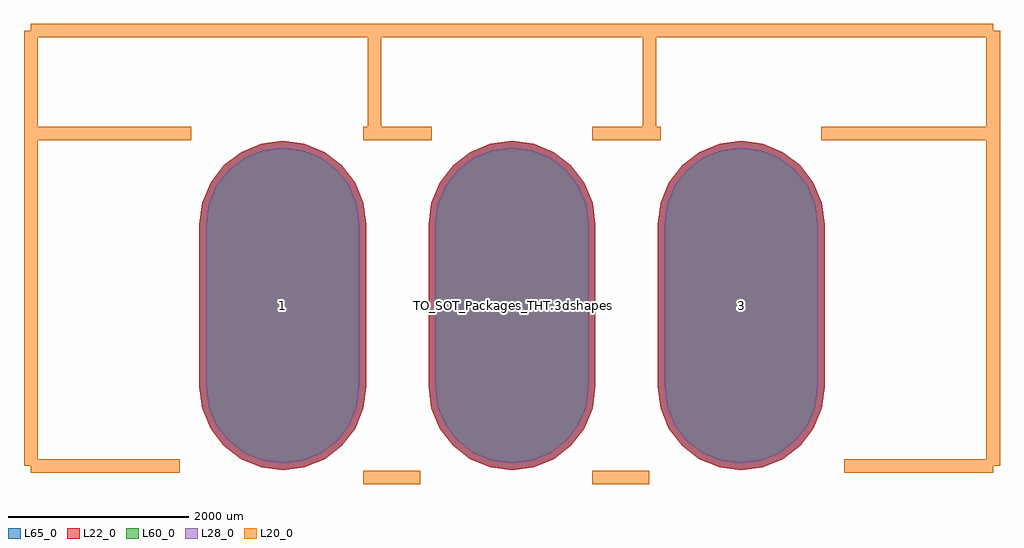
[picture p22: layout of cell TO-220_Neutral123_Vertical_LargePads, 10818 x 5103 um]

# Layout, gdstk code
import gdstk
lib = gdstk.Library(unit=1e-6, precision=1e-09)
def P(c, l, *ps):  # polygons
    for p in ps: c.add(gdstk.Polygon(p, *l))
L20_0 = (20, 0)
L22_0 = (22, 0)
L28_0 = (28, 0)
L60_0 = (60, 0)
L65_0 = (65, 0)

to_220_neutral123_vertic = lib.new_cell('TO-220_Neutral123_Vertical_LargePads')
P(to_220_neutral123_vertic, L22_0, [(2540,-1825.06),(2779.312,-1793.554),(3002.315,-1701.183),(3193.812,-1554.242),(3340.753,-1362.745),(3433.124,-1139.742),(3464.63,-900.43),(3464.63,900.43),(3433.124,1139.742),(3340.753,1362.745),(3193.812,1554.242),(3002.315,1701.183),(2779.312,1793.554),(2540,1825.06),(2300.688,1793.554),(2077.685,1701.183),(1886.188,1554.242),(1739.247,1362.745),(1646.876,1139.742),(1615.37,900.43),(1615.37,-900.43),(1646.876,-1139.742),(1739.247,-1362.745),(1886.188,-1554.242),(2077.685,-1701.183),(2300.688,-1793.554)],
  [(-2540,-1825.06),(-2300.688,-1793.554),(-2077.685,-1701.183),(-1886.188,-1554.242),(-1739.247,-1362.745),(-1646.876,-1139.742),(-1615.37,-900.43),(-1615.37,900.43),(-1646.876,1139.742),(-1739.247,1362.745),(-1886.188,1554.242),(-2077.685,1701.183),(-2300.688,1793.554),(-2540,1825.06),(-2779.312,1793.554),(-3002.315,1701.183),(-3193.812,1554.242),(-3340.753,1362.745),(-3433.124,1139.742),(-3464.63,900.43),(-3464.63,-900.43),(-3433.124,-1139.742),(-3340.753,-1362.745),(-3193.812,-1554.242),(-3002.315,-1701.183),(-2779.312,-1793.554)],
  [(0,-1825.06),(239.312,-1793.554),(462.315,-1701.183),(653.812,-1554.242),(800.753,-1362.745),(893.124,-1139.742),(924.63,-900.43),(924.63,900.43),(893.124,1139.742),(800.753,1362.745),(653.812,1554.242),(462.315,1701.183),(239.312,1793.554),(0,1825.06),(-239.312,1793.554),(-462.315,1701.183),(-653.812,1554.242),(-800.753,1362.745),(-893.124,1139.742),(-924.63,900.43),(-924.63,-900.43),(-893.124,-1139.742),(-800.753,-1362.745),(-653.812,-1554.242),(-462.315,-1701.183),(-239.312,-1793.554)])
P(to_220_neutral123_vertic, L28_0, [(2540,-1750.06),(2759.9,-1721.11),(2964.815,-1636.231),(3140.779,-1501.209),(3275.801,-1325.245),(3360.68,-1120.33),(3389.63,-900.43),(3389.63,900.43),(3360.68,1120.33),(3275.801,1325.245),(3140.779,1501.209),(2964.815,1636.231),(2759.9,1721.11),(2540,1750.06),(2320.1,1721.11),(2115.185,1636.231),(1939.221,1501.209),(1804.199,1325.245),(1719.32,1120.33),(1690.37,900.43),(1690.37,-900.43),(1719.32,-1120.33),(1804.199,-1325.245),(1939.221,-1501.209),(2115.185,-1636.231),(2320.1,-1721.11)],
  [(-2540,-1750.06),(-2320.1,-1721.11),(-2115.185,-1636.231),(-1939.221,-1501.209),(-1804.199,-1325.245),(-1719.32,-1120.33),(-1690.37,-900.43),(-1690.37,900.43),(-1719.32,1120.33),(-1804.199,1325.245),(-1939.221,1501.209),(-2115.185,1636.231),(-2320.1,1721.11),(-2540,1750.06),(-2759.9,1721.11),(-2964.815,1636.231),(-3140.779,1501.209),(-3275.801,1325.245),(-3360.68,1120.33),(-3389.63,900.43),(-3389.63,-900.43),(-3360.68,-1120.33),(-3275.801,-1325.245),(-3140.779,-1501.209),(-2964.815,-1636.231),(-2759.9,-1721.11)],
  [(0,-1750.06),(219.9,-1721.11),(424.815,-1636.231),(600.779,-1501.209),(735.801,-1325.245),(820.68,-1120.33),(849.63,-900.43),(849.63,900.43),(820.68,1120.33),(735.801,1325.245),(600.779,1501.209),(424.815,1636.231),(219.9,1721.11),(0,1750.06),(-219.9,1721.11),(-424.815,1636.231),(-600.779,1501.209),(-735.801,1325.245),(-820.68,1120.33),(-849.63,900.43),(-849.63,-900.43),(-820.68,-1120.33),(-735.801,-1325.245),(-600.779,-1501.209),(-424.815,-1636.231),(-219.9,-1721.11)])
P(to_220_neutral123_vertic, L60_0, [(2540,-1750.06),(2759.9,-1721.11),(2964.815,-1636.231),(3140.779,-1501.209),(3275.801,-1325.245),(3360.68,-1120.33),(3389.63,-900.43),(3389.63,900.43),(3360.68,1120.33),(3275.801,1325.245),(3140.779,1501.209),(2964.815,1636.231),(2759.9,1721.11),(2540,1750.06),(2320.1,1721.11),(2115.185,1636.231),(1939.221,1501.209),(1804.199,1325.245),(1719.32,1120.33),(1690.37,900.43),(1690.37,-900.43),(1719.32,-1120.33),(1804.199,-1325.245),(1939.221,-1501.209),(2115.185,-1636.231),(2320.1,-1721.11)],
  [(-2540,-1750.06),(-2320.1,-1721.11),(-2115.185,-1636.231),(-1939.221,-1501.209),(-1804.199,-1325.245),(-1719.32,-1120.33),(-1690.37,-900.43),(-1690.37,900.43),(-1719.32,1120.33),(-1804.199,1325.245),(-1939.221,1501.209),(-2115.185,1636.231),(-2320.1,1721.11),(-2540,1750.06),(-2759.9,1721.11),(-2964.815,1636.231),(-3140.779,1501.209),(-3275.801,1325.245),(-3360.68,1120.33),(-3389.63,900.43),(-3389.63,-900.43),(-3360.68,-1120.33),(-3275.801,-1325.245),(-3140.779,-1501.209),(-2964.815,-1636.231),(-2759.9,-1721.11)],
  [(0,-1750.06),(219.9,-1721.11),(424.815,-1636.231),(600.779,-1501.209),(735.801,-1325.245),(820.68,-1120.33),(849.63,-900.43),(849.63,900.43),(820.68,1120.33),(735.801,1325.245),(600.779,1501.209),(424.815,1636.231),(219.9,1721.11),(0,1750.06),(-219.9,1721.11),(-424.815,1636.231),(-600.779,1501.209),(-735.801,1325.245),(-820.68,1120.33),(-849.63,900.43),(-849.63,-900.43),(-820.68,-1120.33),(-735.801,-1325.245),(-600.779,-1501.209),(-424.815,-1636.231),(-219.9,-1721.11)])
P(to_220_neutral123_vertic, L65_0, [(2540,-1825.06),(2779.312,-1793.554),(3002.315,-1701.183),(3193.812,-1554.242),(3340.753,-1362.745),(3433.124,-1139.742),(3464.63,-900.43),(3464.63,900.43),(3433.124,1139.742),(3340.753,1362.745),(3193.812,1554.242),(3002.315,1701.183),(2779.312,1793.554),(2540,1825.06),(2300.688,1793.554),(2077.685,1701.183),(1886.188,1554.242),(1739.247,1362.745),(1646.876,1139.742),(1615.37,900.43),(1615.37,-900.43),(1646.876,-1139.742),(1739.247,-1362.745),(1886.188,-1554.242),(2077.685,-1701.183),(2300.688,-1793.554)],
  [(-2540,-1825.06),(-2300.688,-1793.554),(-2077.685,-1701.183),(-1886.188,-1554.242),(-1739.247,-1362.745),(-1646.876,-1139.742),(-1615.37,-900.43),(-1615.37,900.43),(-1646.876,1139.742),(-1739.247,1362.745),(-1886.188,1554.242),(-2077.685,1701.183),(-2300.688,1793.554),(-2540,1825.06),(-2779.312,1793.554),(-3002.315,1701.183),(-3193.812,1554.242),(-3340.753,1362.745),(-3433.124,1139.742),(-3464.63,900.43),(-3464.63,-900.43),(-3433.124,-1139.742),(-3340.753,-1362.745),(-3193.812,-1554.242),(-3002.315,-1701.183),(-2779.312,-1793.554)],
  [(0,-1825.06),(239.312,-1793.554),(462.315,-1701.183),(653.812,-1554.242),(800.753,-1362.745),(893.124,-1139.742),(924.63,-900.43),(924.63,900.43),(893.124,1139.742),(800.753,1362.745),(653.812,1554.242),(462.315,1701.183),(239.312,1793.554),(0,1825.06),(-239.312,1793.554),(-462.315,1701.183),(-653.812,1554.242),(-800.753,1362.745),(-893.124,1139.742),(-924.63,900.43),(-924.63,-900.43),(-893.124,-1139.742),(-800.753,-1362.745),(-653.812,-1554.242),(-462.315,-1701.183),(-239.312,-1793.554)])
to_220_neutral123_vertic.add(gdstk.FlexPath([(0,3048),(5334,3048)], 149.998, ends="flush", simple_path=True, layer=20, datatype=0))  # L20_0
to_220_neutral123_vertic.add(gdstk.FlexPath([(0,3048),(-5334,3048)], 149.998, ends="flush", simple_path=True, layer=20, datatype=0))  # L20_0
to_220_neutral123_vertic.add(gdstk.FlexPath([(-5334,1905),(-5334,3048)], 149.998, ends="flush", simple_path=True, layer=20, datatype=0))  # L20_0
to_220_neutral123_vertic.add(gdstk.FlexPath([(5334,3048),(5334,1905)], 149.998, ends="flush", simple_path=True, layer=20, datatype=0))  # L20_0
to_220_neutral123_vertic.add(gdstk.FlexPath([(-5334,-1778),(-5334,1905)], 149.998, ends="flush", simple_path=True, layer=20, datatype=0))  # L20_0
to_220_neutral123_vertic.add(gdstk.FlexPath([(5334,1905),(5334,-1778)], 149.998, ends="flush", simple_path=True, layer=20, datatype=0))  # L20_0
to_220_neutral123_vertic.add(gdstk.FlexPath([(1524,3048),(1524,1905)], 149.998, ends="flush", simple_path=True, layer=20, datatype=0))  # L20_0
to_220_neutral123_vertic.add(gdstk.FlexPath([(-1524,3048),(-1524,1905)], 149.998, ends="flush", simple_path=True, layer=20, datatype=0))  # L20_0
to_220_neutral123_vertic.add(gdstk.FlexPath([(5334,-1778),(3683,-1778)], 149.998, ends="flush", simple_path=True, layer=20, datatype=0))  # L20_0
to_220_neutral123_vertic.add(gdstk.FlexPath([(1524,-1905),(889,-1905)], 149.998, ends="flush", simple_path=True, layer=20, datatype=0))  # L20_0
to_220_neutral123_vertic.add(gdstk.FlexPath([(-1016,-1905),(-1651,-1905)], 149.998, ends="flush", simple_path=True, layer=20, datatype=0))  # L20_0
to_220_neutral123_vertic.add(gdstk.FlexPath([(-5334,-1778),(-3683,-1778)], 149.998, ends="flush", simple_path=True, layer=20, datatype=0))  # L20_0
to_220_neutral123_vertic.add(gdstk.FlexPath([(-5334,1905),(-3556,1905)], 149.998, ends="flush", simple_path=True, layer=20, datatype=0))  # L20_0
to_220_neutral123_vertic.add(gdstk.FlexPath([(-1524,1905),(-889,1905)], 149.998, ends="flush", simple_path=True, layer=20, datatype=0))  # L20_0
to_220_neutral123_vertic.add(gdstk.FlexPath([(-1524,1905),(-1651,1905)], 149.998, ends="flush", simple_path=True, layer=20, datatype=0))  # L20_0
to_220_neutral123_vertic.add(gdstk.FlexPath([(889,1905),(1651,1905)], 149.998, ends="flush", simple_path=True, layer=20, datatype=0))  # L20_0
to_220_neutral123_vertic.add(gdstk.FlexPath([(5334,1905),(3429,1905)], 149.998, ends="flush", simple_path=True, layer=20, datatype=0))  # L20_0
to_220_neutral123_vertic.add(gdstk.Label('TO_SOT_Packages_THT.3dshapes/TO-220_Neutral123_Vertical_LargePads.wrl', (0,0), layer=12, texttype=0))
to_220_neutral123_vertic.add(gdstk.Label('3', (2540,0), layer=28, texttype=0))
to_220_neutral123_vertic.add(gdstk.Label('1', (-2540,0), layer=28, texttype=0))
to_220_neutral123_vertic.add(gdstk.Label('2', (0,0), layer=28, texttype=0))
to_220_neutral123_vertic.add(gdstk.Label('type', (0,-3810), layer=9, texttype=0))
to_220_neutral123_vertic.add(gdstk.Label('devicename', (0,5080), layer=9, texttype=0))

lib.write_gds('TO-220_Neutral123_Vertical_LargePads.gds')
